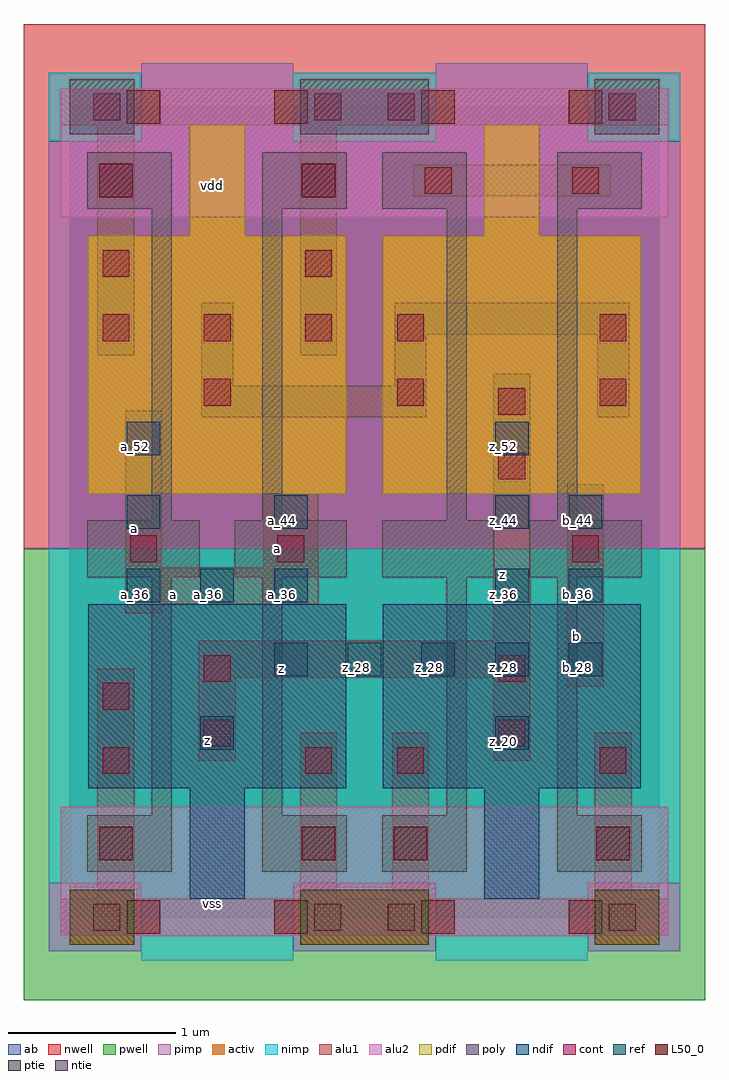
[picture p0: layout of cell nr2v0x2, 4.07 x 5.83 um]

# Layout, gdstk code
import gdstk
lib = gdstk.Library(unit=1e-6, precision=2.5e-09)
def R(c, l, rs):  # rectangles x0, y0, x1, y1
    for r in rs: c.add(gdstk.rectangle(r[:2], r[2:], *l))
def A(c, l, x, y, w, h, nx, ny, dx, dy):  # array of equal rectangles
    R(c, l, [(x+i*dx, y+j*dy, x+i*dx+w, y+j*dy+h) for i in range(nx) for j in range(ny)])
ndif = (3, 0)
pdif = (4, 0)
ntie = (5, 0)
ptie = (6, 0)
ref = (24, 0)
cont = (25, 0)
pwell = (41, 0)
nwell = (42, 0)
activ = (43, 0)
pimp = (44, 0)
nimp = (45, 0)
poly = (46, 0)
alu1 = (49, 0)
L50_0 = (50, 0)
alu2 = (51, 0)
ab = (63, 0)

nr2v0x2 = lib.new_cell('nr2v0x2')
R(nr2v0x2, ndif, [(0.715,0.11,1.045,0.77), (2.475,0.11,2.805,0.77), (0.11,0.77,1.65,1.87), (1.87,0.77,3.41,1.87)])
R(nr2v0x2, pdif, [(0.11,2.53,1.65,4.07), (1.87,2.53,3.41,4.07), (0.715,4.07,1.045,4.73), (2.475,4.07,2.805,4.73)])
R(nr2v0x2, ntie, [(0,4.675,0.385,5.005), (1.375,4.675,2.145,5.005), (3.135,4.675,3.52,5.005)])
R(nr2v0x2, ptie, [(0,-0.165,0.385,0.165), (1.375,-0.165,2.145,0.165), (3.135,-0.165,3.52,0.165)])
A(nr2v0x2, ref, 1.22, 1.44, 0.2, 0.2, 5, 1, 0.44, 0)
A(nr2v0x2, ref, 0.34, 1.88, 0.2, 0.2, 3, 1, 0.44, 0)
A(nr2v0x2, ref, 2.54, 1.88, 0.2, 0.2, 1, 3, 0, 0.44)
R(nr2v0x2, ref, [(0.78,1,0.98,1.2), (2.54,1,2.74,1.2), (2.98,1.88,3.18,2.08), (0.34,2.32,0.54,2.52), (1.22,2.32,1.42,2.52), (2.98,2.32,3.18,2.52), (0.34,2.76,0.54,2.96)])
A(nr2v0x2, cont, 0.195, 3.44, 0.16, 0.16, 3, 1, 0.605, 0)
R(nr2v0x2, cont, [(0.14,-0.08,0.3,0.08), (1.46,-0.08,1.62,0.08), (1.9,-0.08,2.06,0.08), (3.22,-0.08,3.38,0.08), (0.195,0.855,0.355,1.015), (1.405,0.855,1.565,1.015), (1.955,0.855,2.115,1.015), (3.165,0.855,3.325,1.015), (0.8,1.02,0.96,1.18), (2.56,1.02,2.72,1.18), (0.195,1.24,0.355,1.4), (0.8,1.405,0.96,1.565), (2.56,1.405,2.72,1.565), (0.36,2.12,0.52,2.28), (1.24,2.12,1.4,2.28), (3,2.12,3.16,2.28), (2.56,2.615,2.72,2.775), (2.56,3,2.72,3.16), (0.8,3.055,0.96,3.215), (1.955,3.055,2.115,3.215), (3.165,3.055,3.325,3.215), (1.955,3.44,2.115,3.6), (3.165,3.44,3.325,3.6), (0.195,3.825,0.355,3.985), (1.405,3.825,1.565,3.985), (2.12,4.32,2.28,4.48), (3,4.32,3.16,4.48), (0.14,4.76,0.3,4.92), (1.46,4.76,1.62,4.92), (1.9,4.76,2.06,4.92), (3.22,4.76,3.38,4.92)])
R(nr2v0x2, pwell, [(-0.275,-0.495,3.795,2.2)])
R(nr2v0x2, nwell, [(-0.275,2.2,3.795,5.335)])
R(nr2v0x2, activ, [(0,-0.165,0.385,0.165), (1.375,-0.165,2.145,0.165), (3.135,-0.165,3.52,0.165), (0.715,0.11,1.045,0.77), (2.475,0.11,2.805,0.77), (0.11,0.77,1.65,1.87), (1.87,0.77,3.41,1.87), (0.11,2.53,1.65,4.07), (1.87,2.53,3.41,4.07), (0.715,4.07,1.045,4.73), (2.475,4.07,2.805,4.73), (0,4.675,0.385,5.005), (1.375,4.675,2.145,5.005), (3.135,4.675,3.52,5.005)])
R(nr2v0x2, pimp, [(-0.125,-0.205,0.425,0.205), (1.335,-0.205,2.185,0.205), (3.095,-0.205,3.645,0.205), (-0.125,2.2,3.645,4.635), (0.425,4.635,1.335,5.1), (2.185,4.635,3.095,5.1)])
R(nr2v0x2, nimp, [(0.425,-0.26,1.335,0.205), (2.185,-0.26,3.095,0.205), (-0.125,0.205,3.645,2.2), (-0.125,4.635,0.425,5.045), (1.335,4.635,2.185,5.045), (3.095,4.635,3.645,5.045)])
A(nr2v0x2, poly, 0.105, 2.03, 0.67, 0.34, 4, 1, 0.88, 0)
R(nr2v0x2, poly, [(0.105,0.27,0.61,0.61), (1.15,0.27,1.655,0.61), (1.865,0.27,2.37,0.61), (2.91,0.27,3.415,0.61), (0.49,0.61,0.61,2.03), (1.15,0.61,1.27,2.03), (2.25,0.61,2.37,2.03), (2.91,0.61,3.03,2.03), (0.49,2.37,0.61,4.23), (1.15,2.37,1.27,4.23), (2.25,2.37,2.37,4.23), (2.91,2.37,3.03,4.23), (0.105,4.23,0.61,4.57), (1.15,4.23,1.655,4.57), (1.865,4.23,2.37,4.57), (2.91,4.23,3.415,4.57)])
R(nr2v0x2, alu1, [(-0.055,-0.11,3.575,0.11), (0.165,0.11,0.385,1.485), (1.375,0.11,1.595,1.1), (1.925,0.11,2.145,1.1), (3.135,0.11,3.355,1.1), (0.77,0.935,0.99,1.43), (2.53,0.935,2.75,1.43), (2.97,1.375,3.19,2.585), (0.77,1.43,2.75,1.65), (2.53,1.65,2.75,3.245), (0.33,1.815,0.55,1.87), (0.33,1.87,1.485,2.09), (0.33,2.09,0.55,3.025), (1.155,2.09,1.485,2.53), (0.785,2.985,2.13,3.175), (3.15,2.985,3.34,3.48), (0.785,3.175,0.975,3.67), (1.94,3.175,2.13,3.48), (0.165,3.355,0.385,4.73), (1.375,3.355,1.595,4.73), (1.94,3.48,3.34,3.67), (2.05,4.305,3.23,4.495), (-0.055,4.73,3.575,4.95)])
A(nr2v0x2, L50_0, 0.34, -0.1, 0.2, 0.2, 4, 2, 0.88, 4.84)
R(nr2v0x2, L50_0, [(0.175,0.34,0.375,0.54), (1.385,0.34,1.585,0.54), (1.935,0.34,2.135,0.54), (3.145,0.34,3.345,0.54), (0.175,4.3,0.375,4.5), (1.385,4.3,1.585,4.5)])
R(nr2v0x2, alu2, [(-0.055,-0.11,3.575,0.66), (-0.055,4.18,3.575,4.95)])
R(nr2v0x2, ab, [(0,0,3.52,4.84)])
nr2v0x2.add(gdstk.Label('b', (3.025,1.6775), layer=49, texttype=0))
nr2v0x2.add(gdstk.Label('z', (0.825,1.0575), layer=49, texttype=0))
nr2v0x2.add(gdstk.Label('z', (1.265,1.485), layer=49, texttype=0))
nr2v0x2.add(gdstk.Label('z', (2.585,2.0475), layer=49, texttype=0))
nr2v0x2.add(gdstk.Label('a', (0.6175,1.925), layer=49, texttype=0))
nr2v0x2.add(gdstk.Label('a', (1.2375,2.2), layer=49, texttype=0))
nr2v0x2.add(gdstk.Label('a', (0.385,2.3225), layer=49, texttype=0))
nr2v0x2.add(gdstk.Label('vss', (0.8525,0.0825), layer=51, texttype=0))
nr2v0x2.add(gdstk.Label('vdd', (0.8525,4.3725), layer=51, texttype=0))
nr2v0x2.add(gdstk.Label('a_36', (0.39,1.93), layer=24, texttype=0))
nr2v0x2.add(gdstk.Label('a_36', (1.27,1.93), layer=24, texttype=0))
nr2v0x2.add(gdstk.Label('b_28', (3.03,1.49), layer=24, texttype=0))
nr2v0x2.add(gdstk.Label('a_36', (0.83,1.93), layer=24, texttype=0))
nr2v0x2.add(gdstk.Label('z_20', (0.83,1.05), layer=24, texttype=0))
nr2v0x2.add(gdstk.Label('z_28', (1.27,1.49), layer=24, texttype=0))
nr2v0x2.add(gdstk.Label('z_28', (1.71,1.49), layer=24, texttype=0))
nr2v0x2.add(gdstk.Label('z_28', (2.15,1.49), layer=24, texttype=0))
nr2v0x2.add(gdstk.Label('z_20', (2.59,1.05), layer=24, texttype=0))
nr2v0x2.add(gdstk.Label('z_52', (2.59,2.81), layer=24, texttype=0))
nr2v0x2.add(gdstk.Label('z_28', (2.59,1.49), layer=24, texttype=0))
nr2v0x2.add(gdstk.Label('z_36', (2.59,1.93), layer=24, texttype=0))
nr2v0x2.add(gdstk.Label('z_44', (2.59,2.37), layer=24, texttype=0))
nr2v0x2.add(gdstk.Label('b_36', (3.03,1.93), layer=24, texttype=0))
nr2v0x2.add(gdstk.Label('a_44', (1.27,2.37), layer=24, texttype=0))
nr2v0x2.add(gdstk.Label('b_44', (3.03,2.37), layer=24, texttype=0))
nr2v0x2.add(gdstk.Label('a_52', (0.39,2.81), layer=24, texttype=0))
nr2v0x2.add(gdstk.Label('a_44', (0.39,2.37), layer=24, texttype=0))

lib.write_gds('nr2v0x2.gds')
